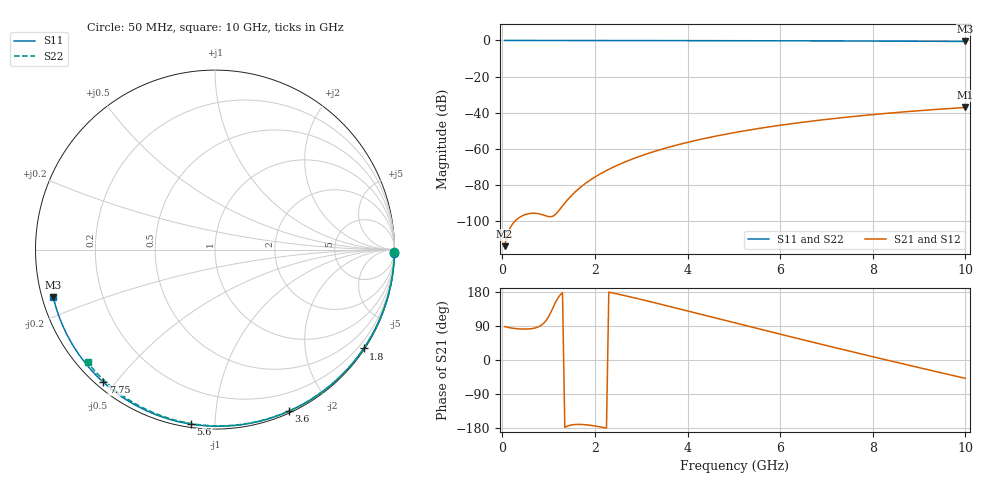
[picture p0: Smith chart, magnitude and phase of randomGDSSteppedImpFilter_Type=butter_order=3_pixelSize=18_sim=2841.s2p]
! freq	dB(S11)	phase(S11)	dB(S12)	phase(S12)
!  dB(S21)	phase(S21)	dB(S22)	phase(S22)
!S-par simulation data
#  GHz  S  DB  R 50
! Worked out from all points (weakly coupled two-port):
!   200 points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, 50 MHz to 10 GHz, reference 50 ohm
!   highest |S21| = -37.18 dB at 10 GHz (marker M1); lowest = -114.1 dB at 50 MHz (marker M2)
!   lowest |S11| = -0.5 dB at 10 GHz (marker M3), VSWR 31.94, Z = 1.6 - j7.21 ohm
!   |S11| at or under -10 dB: nowhere
!   |S22| runs from -0.5 to 0.0 dB; largest |S21 - S12| = 0
!   S11 on the Smith chart (normalised r, x): 50 MHz: open; 1.8 GHz: 0.03, -3.31; 3.6 GHz: 0.02, -1.56; 5.6 GHz: 0.02, -0.87; 7.75 GHz: 0.02, -0.46; 10 GHz: 0.03, -0.14
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0.05  -0.00 -1.0  -114.10 88.3  -114.10 88.3  -0.00 -0.8
0.45  -0.01 -8.5  -97.06 81.7  -97.06 81.7  -0.01 -7.2
0.85  -0.02 -16.1  -96.53 92.5  -96.53 92.5  -0.02 -13.5
1.3  -0.03 -24.4  -91.78 177.8  -91.78 177.8  -0.03 -20.6
1.75  -0.04 -32.7  -80.18 -170.4  -80.18 -170.4  -0.04 -27.6
1.8  -0.04 -33.6  -79.21 -170.9  -79.21 -170.9  -0.04 -28.4
1.95  -0.05 -36.4  -76.57 -173.2  -76.57 -173.2  -0.04 -30.7
2.1  -0.05 -39.1  -74.23 -176.2  -74.23 -176.2  -0.04 -33.0
2.3  -0.05 -42.7  -71.47 179.1  -71.47 179.1  -0.05 -36.1
2.5  -0.06 -46.2  -69.04 173.9  -69.04 173.9  -0.05 -39.1
2.9  -0.07 -53.3  -64.89 162.6  -64.89 162.6  -0.06 -45.1
3.4  -0.08 -62.0  -60.65 147.8  -60.65 147.8  -0.07 -52.5
3.6  -0.09 -65.4  -59.18 141.7  -59.18 141.7  -0.07 -55.5
4.3  -0.11 -77.1  -54.74 120.2  -54.74 120.2  -0.09 -65.5
5.05  -0.14 -89.2  -50.92 97.2  -50.92 97.2  -0.12 -75.9
5.6  -0.16 -97.8  -48.56 80.3  -48.56 80.3  -0.14 -83.4
6.15  -0.19 -106.3  -46.50 63.6  -46.50 63.6  -0.16 -90.7
6.7  -0.22 -114.6  -44.68 47.1  -44.68 47.1  -0.19 -97.8
7.75  -0.30 -130.2  -41.74 16.0  -41.74 16.0  -0.26 -111.0
8.35  -0.36 -139.0  -40.32 -1.5  -40.32 -1.5  -0.30 -118.4
9.2  -0.45 -151.6  -38.57 -25.9  -38.57 -25.9  -0.38 -128.8
10  -0.54 -163.6  -37.18 -48.5  -37.18 -48.5  -0.47 -138.4
